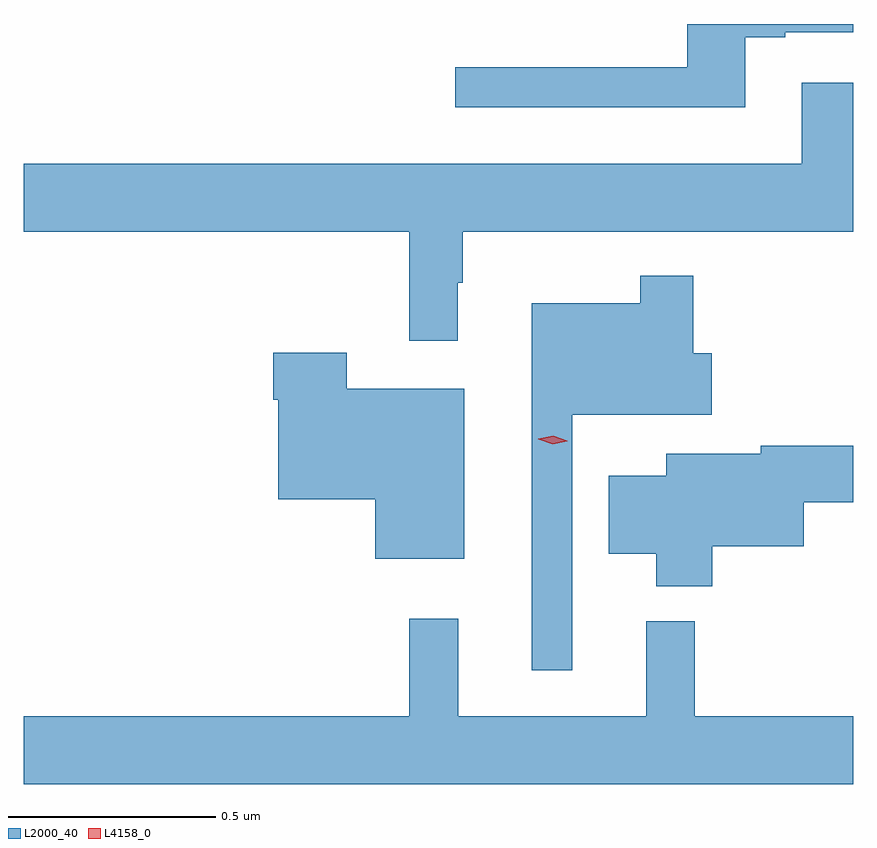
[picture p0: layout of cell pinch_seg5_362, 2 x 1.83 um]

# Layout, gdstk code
import gdstk
lib = gdstk.Library(unit=1e-6, precision=1e-09)
def P(c, l, *ps):  # polygons
    for p in ps: c.add(gdstk.Polygon(p, *l))
L2000_40 = (2000, 40)
L4158_0 = (4158, 0)

pinch_seg5_362 = lib.new_cell('pinch_seg5_362')
P(pinch_seg5_362, L2000_40, [(977.437,877.209),(977.533,877.209),(977.533,877.221),(977.697,877.221),(977.697,877.241),(977.297,877.241),(977.297,877.137),(976.737,877.137),(976.737,877.04),(977.437,877.04)],
  [(976.744,876.617),(976.756,876.617),(976.756,876.74),(977.697,876.74),(977.697,877.099),(977.573,877.099),(977.573,876.904),(975.697,876.904),(975.697,876.74),(976.627,876.74),(976.627,876.477),(976.744,876.477)],
  [(977.019,876.299),(977.356,876.299),(977.356,876.447),(977.312,876.447),(977.312,876.634),(977.184,876.634),(977.184,876.568),(976.922,876.568),(976.922,875.682),(977.019,875.682)],
  [(976.759,876.361),(976.476,876.361),(976.476,876.448),(976.298,876.448),(976.298,876.335),(976.31,876.335),(976.31,876.095),(976.544,876.095),(976.544,875.951),(976.759,875.951)],
  [(977.357,875.981),(977.578,875.981),(977.578,876.088),(977.697,876.088),(977.697,876.224),(977.474,876.224),(977.474,876.205),(977.246,876.205),(977.246,876.151),(977.108,876.151),(977.108,875.963),(977.222,875.963),(977.222,875.885),(977.357,875.885)],
  [(977.697,875.572),(977.315,875.572),(977.315,875.8),(977.198,875.8),(977.198,875.572),(976.745,875.572),(976.745,875.806),(976.627,875.806),(976.627,875.572),(975.697,875.572),(975.697,875.408),(977.697,875.408)])
P(pinch_seg5_362, L4158_0, [(976.972,876.228),(976.938,876.24),(976.938,876.241),(976.938,876.241),(976.974,876.248),(977.008,876.236),(977.008,876.235),(977.008,876.235)])

lib.write_gds('pinch_seg5_362.gds')
